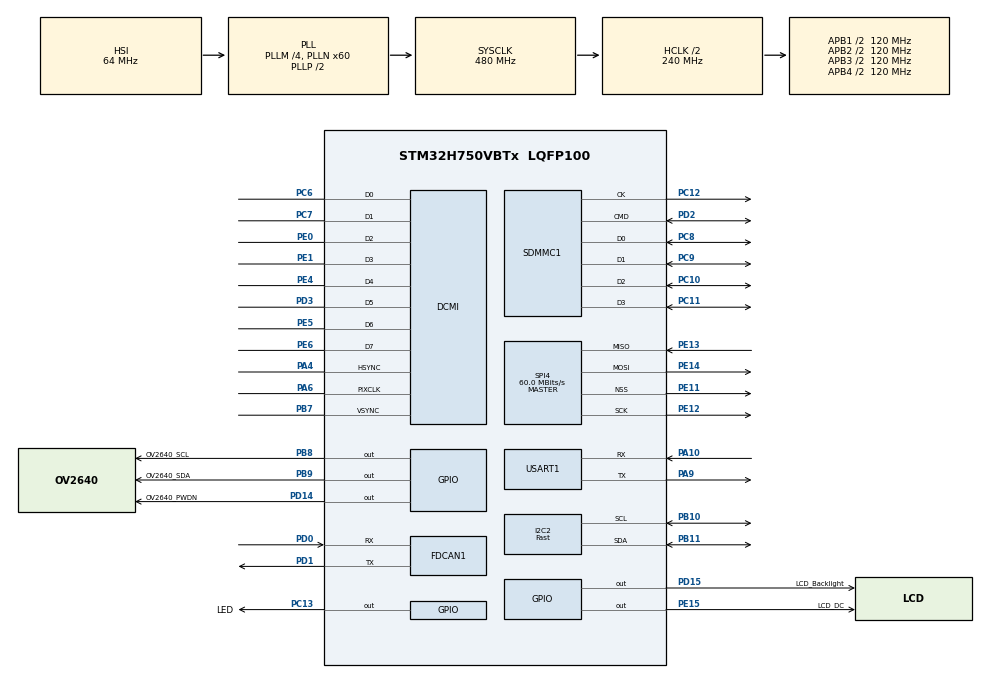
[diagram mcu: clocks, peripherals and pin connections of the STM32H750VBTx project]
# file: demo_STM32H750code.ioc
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CORTEX_M7.AccessPermission_Spec=MPU_REGION_FULL_ACCESS
CORTEX_M7.BaseAddress_Spec=0x24000000
CORTEX_M7.DisableExec_Spec=MPU_INSTRUCTION_ACCESS_ENABLE
CORTEX_M7.IsBufferable_Spec=MPU_ACCESS_BUFFERABLE
CORTEX_M7.IsCacheable_Spec=MPU_ACCESS_CACHEABLE
CORTEX_M7.Size_Spec=MPU_REGION_SIZE_512KB
CORTEX_M7.SubRegionDisable_Spec=0x00
CORTEX_M7.default_mode_Activation=1
DCMI.JPEGMode=DCMI_JPEG_DISABLE
DCMI.PCKPolarity=DCMI_PCKPOLARITY_RISING
Dma.DCMI.0.Direction=DMA_PERIPH_TO_MEMORY
Dma.DCMI.0.EventEnable=DISABLE
Dma.DCMI.0.FIFOMode=DMA_FIFOMODE_ENABLE
Dma.DCMI.0.FIFOThreshold=DMA_FIFO_THRESHOLD_FULL
Dma.DCMI.0.Instance=DMA2_Stream7
Dma.DCMI.0.MemBurst=DMA_MBURST_SINGLE
Dma.DCMI.0.MemDataAlignment=DMA_MDATAALIGN_WORD
Dma.DCMI.0.MemInc=DMA_MINC_ENABLE
Dma.DCMI.0.Mode=DMA_CIRCULAR
Dma.DCMI.0.PeriphBurst=DMA_PBURST_SINGLE
Dma.DCMI.0.PeriphDataAlignment=DMA_PDATAALIGN_WORD
Dma.DCMI.0.PeriphInc=DMA_PINC_DISABLE
Dma.DCMI.0.Polarity=HAL_DMAMUX_REQ_GEN_RISING
Dma.DCMI.0.Priority=DMA_PRIORITY_LOW
Dma.DCMI.0.RequestNumber=1
Dma.DCMI.0.SignalID=NONE
Dma.DCMI.0.SyncEnable=DISABLE
Dma.DCMI.0.SyncPolarity=HAL_DMAMUX_SYNC_NO_EVENT
Dma.DCMI.0.SyncRequestNumber=1
Dma.DCMI.0.SyncSignalID=NONE
Dma.Request0=DCMI
Dma.Request1=USART1_RX
Dma.Request2=USART1_TX
Dma.USART1_RX.1.Direction=DMA_PERIPH_TO_MEMORY
Dma.USART1_RX.1.EventEnable=DISABLE
Dma.USART1_RX.1.FIFOMode=DMA_FIFOMODE_DISABLE
Dma.USART1_RX.1.Instance=DMA1_Stream0
Dma.USART1_RX.1.MemDataAlignment=DMA_MDATAALIGN_BYTE
Dma.USART1_RX.1.MemInc=DMA_MINC_ENABLE
Dma.USART1_RX.1.Mode=DMA_NORMAL
Dma.USART1_RX.1.PeriphDataAlignment=DMA_PDATAALIGN_BYTE
Dma.USART1_RX.1.PeriphInc=DMA_PINC_DISABLE
Dma.USART1_RX.1.Polarity=HAL_DMAMUX_REQ_GEN_RISING
Dma.USART1_RX.1.Priority=DMA_PRIORITY_LOW
Dma.USART1_RX.1.RequestNumber=1
Dma.USART1_RX.1.SignalID=NONE
Dma.USART1_RX.1.SyncEnable=DISABLE
Dma.USART1_RX.1.SyncPolarity=HAL_DMAMUX_SYNC_NO_EVENT
Dma.USART1_RX.1.SyncRequestNumber=1
Dma.USART1_RX.1.SyncSignalID=NONE
Dma.USART1_TX.2.Direction=DMA_MEMORY_TO_PERIPH
Dma.USART1_TX.2.EventEnable=DISABLE
Dma.USART1_TX.2.FIFOMode=DMA_FIFOMODE_DISABLE
Dma.USART1_TX.2.Instance=DMA1_Stream1
Dma.USART1_TX.2.MemDataAlignment=DMA_MDATAALIGN_BYTE
Dma.USART1_TX.2.MemInc=DMA_MINC_ENABLE
Dma.USART1_TX.2.Mode=DMA_NORMAL
Dma.USART1_TX.2.PeriphDataAlignment=DMA_PDATAALIGN_BYTE
Dma.USART1_TX.2.PeriphInc=DMA_PINC_DISABLE
Dma.USART1_TX.2.Polarity=HAL_DMAMUX_REQ_GEN_RISING
Dma.USART1_TX.2.Priority=DMA_PRIORITY_LOW
Dma.USART1_TX.2.RequestNumber=1
Dma.USART1_TX.2.SignalID=NONE
Dma.USART1_TX.2.SyncEnable=DISABLE
Dma.USART1_TX.2.SyncPolarity=HAL_DMAMUX_SYNC_NO_EVENT
Dma.USART1_TX.2.SyncRequestNumber=1
Dma.USART1_TX.2.SyncSignalID=NONE
FDCAN1.CalculateBaudRateNominal=100000
FDCAN1.CalculateTimeBitNominal=10000
FDCAN1.CalculateTimeQuantumNominal=1666.6666666666667
FDCAN1.FrameFormat=FDCAN_FRAME_CLASSIC
FDCAN1.NominalPrescaler=200
FDCAN1.NominalTimeSeg1=3
I2C2.I2C_Speed_Mode=I2C_Fast
I2C2.Speed=300
I2C2.Timing=0x00B07FFF
Mcu.Family=STM32H7
Mcu.Name=STM32H750VBTx
Mcu.Package=LQFP100
NVIC.DCMI_IRQn=true\:0\:0\:false\:false\:true\:true\:true\:true
NVIC.DMA1_Stream0_IRQn=true\:0\:0\:false\:false\:true\:false\:true\:true
NVIC.DMA1_Stream1_IRQn=true\:0\:0\:false\:false\:true\:false\:true\:true
NVIC.DMA2_Stream7_IRQn=true\:0\:0\:false\:false\:true\:false\:true\:true
NVIC.PriorityGroup=NVIC_PRIORITYGROUP_4
NVIC.USART1_IRQn=true\:0\:0\:false\:false\:true\:true\:true\:true
PA10.Mode=Asynchronous
PA10.Signal=USART1_RX
PA13\ (JTMS/SWDIO).Mode=Serial_Wire
PA13\ (JTMS/SWDIO).Signal=DEBUG_JTMS-SWDIO
PA14\ (JTCK/SWCLK).Mode=Serial_Wire
PA14\ (JTCK/SWCLK).Signal=DEBUG_JTCK-SWCLK
PA4.GPIO_Speed=GPIO_SPEED_FREQ_VERY_HIGH
PA4.Mode=Slave_8_bits_External_Synchro
PA4.Signal=DCMI_HSYNC
PA6.GPIO_Speed=GPIO_SPEED_FREQ_VERY_HIGH
PA6.Mode=Slave_8_bits_External_Synchro
PA6.Signal=DCMI_PIXCLK
PA9.Mode=Asynchronous
PA9.Signal=USART1_TX
PB10.GPIO_Speed=GPIO_SPEED_FREQ_MEDIUM
PB10.Mode=I2C
PB10.Signal=I2C2_SCL
PB11.GPIO_Speed=GPIO_SPEED_FREQ_MEDIUM
PB11.Mode=I2C
PB11.Signal=I2C2_SDA
PB7.GPIO_Speed=GPIO_SPEED_FREQ_VERY_HIGH
PB7.Mode=Slave_8_bits_External_Synchro
PB7.Signal=DCMI_VSYNC
PB8.GPIO_Label=OV2640_SCL
PB8.GPIO_ModeDefaultOutputPP=GPIO_MODE_OUTPUT_OD
PB8.GPIO_PuPd=GPIO_NOPULL
PB8.GPIO_Speed=GPIO_SPEED_FREQ_LOW
PB8.PinState=GPIO_PIN_SET
PB8.Signal=GPIO_Output
PB9.GPIO_Label=OV2640_SDA
PB9.GPIO_ModeDefaultOutputPP=GPIO_MODE_OUTPUT_OD
PB9.GPIO_PuPd=GPIO_NOPULL
PB9.PinState=GPIO_PIN_SET
PB9.Signal=GPIO_Output
PC10.Mode=SD_4_bits_Wide_bus
PC10.Signal=SDMMC1_D2
PC11.Mode=SD_4_bits_Wide_bus
PC11.Signal=SDMMC1_D3
PC12.Mode=SD_4_bits_Wide_bus
PC12.Signal=SDMMC1_CK
PC13.GPIO_Label=LED
PC13.Signal=GPIO_Output
PC14-OSC32_IN\ (OSC32_IN).Mode=LSE-External-Oscillator
PC14-OSC32_IN\ (OSC32_IN).Signal=RCC_OSC32_IN
PC15-OSC32_OUT\ (OSC32_OUT).Mode=LSE-External-Oscillator
PC15-OSC32_OUT\ (OSC32_OUT).Signal=RCC_OSC32_OUT
PC6.GPIO_Speed=GPIO_SPEED_FREQ_VERY_HIGH
PC6.Mode=Slave_8_bits_External_Synchro
PC6.Signal=DCMI_D0
PC7.GPIO_Speed=GPIO_SPEED_FREQ_VERY_HIGH
PC7.Mode=Slave_8_bits_External_Synchro
PC7.Signal=DCMI_D1
PC8.Mode=SD_4_bits_Wide_bus
PC8.Signal=SDMMC1_D0
PC9.Mode=SD_4_bits_Wide_bus
PC9.Signal=SDMMC1_D1
PD0.Mode=FDCAN_Activate
PD0.Signal=FDCAN1_RX
PD1.Mode=FDCAN_Activate
PD1.Signal=FDCAN1_TX
PD14.GPIO_Label=OV2640_PWDN
PD14.GPIO_PuPd=GPIO_PULLUP
PD14.Signal=GPIO_Output
PD15.GPIO_Label=LCD_Backlight
PD15.Signal=GPIO_Output
PD2.Mode=SD_4_bits_Wide_bus
PD2.Signal=SDMMC1_CMD
PD3.GPIO_Speed=GPIO_SPEED_FREQ_VERY_HIGH
PD3.Mode=Slave_8_bits_External_Synchro
PD3.Signal=DCMI_D5
PE0.GPIO_Speed=GPIO_SPEED_FREQ_VERY_HIGH
PE0.Mode=Slave_8_bits_External_Synchro
PE0.Signal=DCMI_D2
PE1.GPIO_Speed=GPIO_SPEED_FREQ_VERY_HIGH
PE1.Mode=Slave_8_bits_External_Synchro
PE1.Signal=DCMI_D3
PE11.GPIO_Speed=GPIO_SPEED_FREQ_VERY_HIGH
PE11.Mode=NSS_Signal_Hard_Output
PE11.Signal=SPI4_NSS
PE12.GPIO_Speed=GPIO_SPEED_FREQ_VERY_HIGH
PE12.Mode=Full_Duplex_Master
PE12.Signal=SPI4_SCK
PE13.GPIO_Speed=GPIO_SPEED_FREQ_VERY_HIGH
PE13.Mode=Full_Duplex_Master
PE13.Signal=SPI4_MISO
PE14.GPIO_Speed=GPIO_SPEED_FREQ_VERY_HIGH
PE14.Mode=Full_Duplex_Master
PE14.Signal=SPI4_MOSI
PE15.GPIO_Label=LCD_DC
PE15.Signal=GPIO_Output
PE4.GPIO_Speed=GPIO_SPEED_FREQ_VERY_HIGH
PE4.Mode=Slave_8_bits_External_Synchro
PE4.Signal=DCMI_D4
PE5.GPIO_Speed=GPIO_SPEED_FREQ_VERY_HIGH
PE5.Mode=Slave_8_bits_External_Synchro
PE5.Signal=DCMI_D6
PE6.GPIO_Speed=GPIO_SPEED_FREQ_VERY_HIGH
PE6.Mode=Slave_8_bits_External_Synchro
PE6.Signal=DCMI_D7
PH0-OSC_IN\ (PH0).Mode=HSE-External-Oscillator
PH0-OSC_IN\ (PH0).Signal=RCC_OSC_IN
PH1-OSC_OUT\ (PH1).Mode=HSE-External-Oscillator
PH1-OSC_OUT\ (PH1).Signal=RCC_OSC_OUT
ProjectManager.HeapSize=0x200
ProjectManager.StackSize=0x400
ProjectManager.TargetToolchain=MDK-ARM V5.32
RCC.ADCFreq_Value=129000000
RCC.APB1Freq_Value=120000000
RCC.APB2Freq_Value=120000000
RCC.APB3Freq_Value=120000000
RCC.APB4Freq_Value=120000000
RCC.CortexFreq_Value=480000000
RCC.D1PPRE=RCC_APB3_DIV2
RCC.D2PPRE1=RCC_APB1_DIV2
RCC.D2PPRE2=RCC_APB2_DIV2
RCC.D3PPRE=RCC_APB4_DIV2
RCC.DIVM1=4
RCC.DIVN1=60
RCC.DIVQ1=8
RCC.HCLKFreq_Value=240000000
RCC.HPRE=RCC_HCLK_DIV2
RCC.PLL2FRACN=0
RCC.PLL3FRACN=0
RCC.PLLFRACN=0
RCC.SYSCLKFreq_VALUE=480000000
RCC.SYSCLKSource=RCC_SYSCLKSOURCE_PLLCLK
RCC.USBFreq_Value=120000000
SDMMC1.ClockDiv=6
SPI4.CalculateBaudRate=60.0 MBits/s
SPI4.DataSize=SPI_DATASIZE_8BIT
SPI4.Direction=SPI_DIRECTION_2LINES
SPI4.FifoThreshold=SPI_FIFO_THRESHOLD_02DATA
SPI4.Mode=SPI_MODE_MASTER
SPI4.VirtualNSS=VM_NSSHARD
SPI4.VirtualType=VM_MASTER
USART1.VirtualMode-Asynchronous=VM_ASYNC
VP_FATFS_VS_SDIO.Mode=SDIO
VP_MEMORYMAP_VS_MEMORYMAP.Mode=CurAppReg
board=custom

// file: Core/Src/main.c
/* USER CODE BEGIN Header */
/**
  ******************************************************************************
  * @file           : main.c
  * @brief          : Main program body
  ******************************************************************************
  * @attention
  *
  * Copyright (c) 2025 STMicroelectronics.
  * All rights reserved.
  *
  * This software is licensed under terms that can be found in the LICENSE file
  * in the root directory of this software component.
  * If no LICENSE file comes with this software, it is provided AS-IS.
  *
  ******************************************************************************
  */
/* USER CODE END Header */
#include "main.h"
#include "dcmi.h"
#include "dma.h"
#include "fatfs.h"
#include "fdcan.h"
#include "i2c.h"
#include "memorymap.h"
#include "sdmmc.h"
#include "spi.h"
#include "usart.h"
#include "gpio.h"

/* USER CODE BEGIN Includes */
#include <string.h>
#include <stdio.h>
#include "OLED.h"
#include "lcd_spi_154.h"
#include "dcmi_ov2640.h"
#include "sccb.h"
#include "save.h"
#include "CAN_own.h"

/* USER CODE END Includes */

void SystemClock_Config(void);
static void MPU_Config(void);

/* USER CODE BEGIN 0 */

const uint8_t logo_main[] = {
        0x00,0x00,0x00,0x00,0x00,0x00,0x00,0x00,0x00,0x00,0x00,0x00,0x00,0x00,0x00,0x00,0x00,0x00,0x00,0x00,0x00,0x00,0x00,0x00,0x00,0x00,0x00,0x00,0x00,0x00,0x00,0x00,0x00,0x00,0x00,0x00,0x00,0x00,0x00,0x00,
        0x00,0x00,0x00,0x00,0x00,0x00,0x00,0x00,0x00,0x00,0x00,0x00,0x00,0x00,0x00,0x00,0x00,0x00,0x00,0x00,0x00,0x00,0x00,0x00,0x00,0x00,0x00,0x00,0x00,0x00,0x00,0x00,0x00,0x00,0x00,0x00,0x00,0x00,0x00,0x00,
        0x00,0x00,0x00,0x00,0x00,0x00,0x00,0x00,0x00,0x00,0x00,0x00,0x00,0x00,0x00,0x00,0x00,0x00,0x00,0x00,0x00,0x00,0x00,0x00,0x00,0x00,0x00,0x00,0x00,0x00,0x00,0x00,0x00,0x00,0x00,0x00,0x00,0x00,0x00,0x00,
        0x00,0x00,0x00,0x00,0x00,0x00,0x00,0x00,0x00,0x00,0x00,0x00,0x00,0x00,0x00,0x00,0x80,0x80,0x80,0x80,0xC0,0x20,0x20,0x20,0x20,0x3E,0x20,0x20,0x3E,0x20,0x20,0x3E,0x20,0x20,0x3E,0x20,0xE0,0x80,0x80,0x80,0x80,0x00,0x00,0x00,0x60,0x60,
        0x70,0x60,0x60,0x60,0x70,0x60,0x60,0x00,0x00,0x00,0xE0,0x00,0x00,0xE0,0x00,0x00,0xE0,0x00,0x00,0x20,0x20,0x00,0x20,0x20,0xE0,0x20,0x20,0x20,0x00,0xA0,0x20,0x80,0xC0,0xA0,0xA0,0xA0,0xE0,0xC0,0x00,0x00,
        0x00,0x00,0x00,0x80,0xC0,0x20,0x80,0x60,0x40,0x40,0x40,0xC0,0xC0,0x00,0xE0,0x40,0x40,0xE0,0x20,0x20,0x20,0xA0,0xE0,0x00,0x00,0x00,0x80,0xE0,0x20,0x60,0xE0,0x00,0x00,0x00,
        0x00,0xE0,0x00,0x00,0x00,0x00,0xE0,0x00,0x00,0x00,0x00,0x00,0x00,0x00,0x00,0x00,0x00,0x00,0x00,0x00,0x00,0x00,0x00,0x00,0x24,0x24,0x24,0x24,0xFF,0x00,0x00,0xEC,0xBE,0x12,0xBE,0xEC,0x20,0xF0,0x20,0xF8,
        0x20,0xE0,0x00,0x00,0xFF,0x24,0x24,0x24,0x24,0x00,0x00,0x00,0x30,0x0F,0x00,0x3F,0x20,0x2F,0x20,0x27,0x38,0x03,0x00,0x20,0x23,0x10,0x0C,0x0F,0x18,0x20,0x23,0x20,0x00,0x01,0x3F,0x00,0x3F,0x20,0x3F,0x22,
        0x22,0x22,0x00,0x21,0x3F,0x32,0x26,0x32,0x3F,0x22,0x22,0x3E,0x00,0x00,0x50,0x30,0x00,0x00,0x3F,0x00,0x30,0x0E,0x20,0x3F,0x00,0x1E,0x20,0x00,0x27,0x38,0x38,0x27,0x01,0x21,0x21,0x3F,0x01,0x00,0x20,0x3C,
        0x0F,0x0C,0x0C,0x0C,0x0F,0x3F,0x30,0x00,0x00,0x3F,0x00,0x00,0x00,0x00,0x2F,0x00,0x00,0x00,0x00,0x00,0x00,0x00,0x00,0x00,0x00,0x00,0x00,0x00,0x00,0x00,0x00,0x00,0x01,0x01,0x01,0x01,0x0F,0x10,0x10,0x10,
        0x11,0xF1,0x11,0x10,0xF0,0x10,0x10,0xF0,0x10,0x10,0xF0,0x10,0x1F,0x01,0x01,0x01,0x01,0x00,0x00,0x00,0x31,0x29,0x26,0x00,0x00,0x00,0x00,0x0C,0x13,0x11,0x11,0x0E,0x00,0x00,0x00,0x00,0x21,0x31,0x29,0x26,
        0x00,0x00,0x00,0x00,0x00,0x37,0x25,0x3D,0x00,0x00,0x00,0x00,0x00,0x00,0x3D,0x0C,0x05,0x12,0x11,0x00,0x00,0x00,0x00,0x00,0x00,0x00,0x11,0x06,0x04,0x10,0x00,0x00,0x00,0x00,0x00,0x00,0x06,0x1E,0x16,0x07,
        0x03,0x12,0x00,0x00,0x00,0x00,0x00,0x00,0x10,0x08,0x0C,0x10,0x20,0x00,0x00,0x00,0x00,0x00,0x04,0x1D,0x0D,0x1D,0x1D,0x0D,0x00,0x00,0x00,0x00,0x00,0x00,0x00,0x00,0x00,0x00,0x00,0x00,0x00,0x00,0x00,0x00,
        0x00,0x00,0x00,0x00,0x00,0x00,0x00,0x00,0x00,0x03,0x00,0x00,0x03,0x00,0x00,0x03,0x00,0x00,0x03,0x00,0x00,0x00,0x00,0x00,0x00,0x00,0x00,0x00,0x00,0x00,0x00,0x00,0x00,0x00,0x00,0x00,0x00,0x00,0x00,0x00,
        0x00,0x00,0x00,0x00,0x00,0x00,0x00,0x00,0x00,0x00,0x00,0x00,0x00,0x00,0x00,0x00,0x00,0x00,0x00,0x00,0x00,0x00,0x00,0x00,0x00,0x00,0x00,0x00,0x00,0x00,0x00,0x00,0x00,0x00,0x00,0x00,0x00,0x00,0x00,0x00,
        0x00,0x00,0x00,0x00,0x00,0x00,0x00,0x00,0x00,0x00,0x00,0x00,0x00,0x00,0x00,0x00,0x00,0x00,0x00,0x00,0x00,0x00,0x00,0x00,0x00,0x00,0x00,0x00,0x00,0x00,0x00,0x00,0x00,0x00,0x00,0x00,0x00,0x00,0x00,0x00,
        0x00,0x00,0x00,0x00,0x00,0x00,0x00,0x00,0x00,0x00,0x00,0x00,0x00,0x00,0x00,0x00,0x00,0x00,0x00,0x00,0x00,0x00,0x00,0x00,0x00,0x00,0x00,0x00,0x00,0x00,0x00,0x00,0x00,0x00,0x00,0x00,0x00,0x00,0x00,0x00,
        0x00,0x00,0x00,0x00,0x00,0x00,0x00,0x00,0x00,0x00,0x00,0x00,0x00,0x00,0x00,0x00,0x00,0x00,0x00,0x00,0x00,0x00,0x00,0x00,0x00,0x00,0x00,0x00,0x00,0x00,0x00,0x00,0x00,0x00,0x00,0x00,0x00,0x00,0x00,0x00,
        0x00,0x00,0x00,0x00,0x00,0x00,0x00,0x00,0x00,0x00,0x00,0x00,0x00,0x00,0x00,0x00,0x00,0x00,0x00,0x00,0x00,0x00,0x00,0x00,0x00,0x00,0x00,0x00,0x00,0x00,0x00,0x00,0x00,0x00,0x00,0x00,0x00,0x00,0x00,0x00,
        0x00,0x00,0x00,0x00,0x00,0x00,0x00,0x00}; // “芯火征途，你好AI”logo

uint8_t F407_readBuffer[10];
/* USER CODE END 0 */

int main(void)
{

  /* MPU Configuration--------------------------------------------------------*/
  MPU_Config();

  /* MCU Configuration--------------------------------------------------------*/

  /* Reset of all peripherals, Initializes the Flash interface and the Systick. */
  HAL_Init();

  /* USER CODE BEGIN Init */
  SCB_EnableICache();
	SCB_EnableDCache();
  /* USER CODE END Init */

  /* Configure the system clock */
  SystemClock_Config();

  /* Initialize all configured peripherals */
  MX_GPIO_Init();
  MX_DMA_Init();
  MX_I2C2_Init();
  MX_DCMI_Init();
  MX_SPI4_Init();
  MX_USART1_UART_Init();
  MX_SDMMC1_SD_Init();
  MX_FATFS_Init();
  MX_FDCAN1_Init();
  /* USER CODE BEGIN 2 */
  HAL_UARTEx_ReceiveToIdle_DMA(&huart1, F407_readBuffer, sizeof(F407_readBuffer));
  __HAL_DMA_DISABLE_IT(huart1.hdmarx, DMA_IT_HT);
  CAN_ReceptionInit();
  OLED_Init();
  SPI_LCD_Init();
	DCMI_OV2640_Init();
	OV2640_DMA_Transmit_Continuous(Camera_Buffer, OV2640_BufferSize);
  f_mkdir("IMG");
  /* USER CODE END 2 */

  /* Infinite loop */
  /* USER CODE BEGIN WHILE */
  while (1)
  {
    OLED_ShowString(0,0,"Init Success!",OLED_8X16);
    // OLED_ShowImage(0,21,128,43,logo_main);
    HAL_GPIO_TogglePin(GPIOC,GPIO_PIN_13);
    /* USER CODE END WHILE */

    /* USER CODE BEGIN 3 */
    if(DCMI_FrameState == 1)
    {
      DCMI_FrameState = 0;
      LCD_CopyBuffer(0, 0, Display_Width, Display_Height, (uint16_t*)Camera_Buffer);
    }
    OLED_Update();
  }
  /* USER CODE END 3 */
}

void SystemClock_Config(void)
{
  RCC_OscInitTypeDef RCC_OscInitStruct = {0};
  RCC_ClkInitTypeDef RCC_ClkInitStruct = {0};

  /** Supply configuration update enable
  */
  HAL_PWREx_ConfigSupply(PWR_LDO_SUPPLY);

  /** Configure the main internal regulator output voltage
  */
  __HAL_PWR_VOLTAGESCALING_CONFIG(PWR_REGULATOR_VOLTAGE_SCALE1);

  while(!__HAL_PWR_GET_FLAG(PWR_FLAG_VOSRDY)) {}

  __HAL_RCC_SYSCFG_CLK_ENABLE();
  __HAL_PWR_VOLTAGESCALING_CONFIG(PWR_REGULATOR_VOLTAGE_SCALE0);

  while(!__HAL_PWR_GET_FLAG(PWR_FLAG_VOSRDY)) {}

  /** Initializes the RCC Oscillators according to the specified parameters
  * in the RCC_OscInitTypeDef structure.
  */
  RCC_OscInitStruct.OscillatorType = RCC_OSCILLATORTYPE_HSI;
  RCC_OscInitStruct.HSIState = RCC_HSI_DIV1;
  RCC_OscInitStruct.HSICalibrationValue = RCC_HSICALIBRATION_DEFAULT;
  RCC_OscInitStruct.PLL.PLLState = RCC_PLL_ON;
  RCC_OscInitStruct.PLL.PLLSource = RCC_PLLSOURCE_HSI;
  RCC_OscInitStruct.PLL.PLLM = 4;
  RCC_OscInitStruct.PLL.PLLN = 60;
  RCC_OscInitStruct.PLL.PLLP = 2;
  RCC_OscInitStruct.PLL.PLLQ = 8;
  RCC_OscInitStruct.PLL.PLLR = 2;
  RCC_OscInitStruct.PLL.PLLRGE = RCC_PLL1VCIRANGE_3;
  RCC_OscInitStruct.PLL.PLLVCOSEL = RCC_PLL1VCOWIDE;
  RCC_OscInitStruct.PLL.PLLFRACN = 0;
  if (HAL_RCC_OscConfig(&RCC_OscInitStruct) != HAL_OK)
  {
    Error_Handler();
  }

  /** Initializes the CPU, AHB and APB buses clocks
  */
  RCC_ClkInitStruct.ClockType = RCC_CLOCKTYPE_HCLK|RCC_CLOCKTYPE_SYSCLK
                              |RCC_CLOCKTYPE_PCLK1|RCC_CLOCKTYPE_PCLK2
                              |RCC_CLOCKTYPE_D3PCLK1|RCC_CLOCKTYPE_D1PCLK1;
  RCC_ClkInitStruct.SYSCLKSource = RCC_SYSCLKSOURCE_PLLCLK;
  RCC_ClkInitStruct.SYSCLKDivider = RCC_SYSCLK_DIV1;
  RCC_ClkInitStruct.AHBCLKDivider = RCC_HCLK_DIV2;
  RCC_ClkInitStruct.APB3CLKDivider = RCC_APB3_DIV2;
  RCC_ClkInitStruct.APB1CLKDivider = RCC_APB1_DIV2;
  RCC_ClkInitStruct.APB2CLKDivider = RCC_APB2_DIV2;
  RCC_ClkInitStruct.APB4CLKDivider = RCC_APB4_DIV2;

  if (HAL_RCC_ClockConfig(&RCC_ClkInitStruct, FLASH_LATENCY_4) != HAL_OK)
  {
    Error_Handler();
  }
}

 /* MPU Configuration */

void MPU_Config(void)
{
  MPU_Region_InitTypeDef MPU_InitStruct = {0};

  /* Disables the MPU */
  HAL_MPU_Disable();

  /** Initializes and configures the Region and the memory to be protected
  */
  MPU_InitStruct.Enable = MPU_REGION_ENABLE;
  MPU_InitStruct.Number = MPU_REGION_NUMBER0;
  MPU_InitStruct.BaseAddress = 0x24000000;
  MPU_InitStruct.Size = MPU_REGION_SIZE_512KB;
  MPU_InitStruct.SubRegionDisable = 0x00;
  MPU_InitStruct.TypeExtField = MPU_TEX_LEVEL0;
  MPU_InitStruct.AccessPermission = MPU_REGION_FULL_ACCESS;
  MPU_InitStruct.DisableExec = MPU_INSTRUCTION_ACCESS_ENABLE;
  MPU_InitStruct.IsShareable = MPU_ACCESS_SHAREABLE;
  MPU_InitStruct.IsCacheable = MPU_ACCESS_CACHEABLE;
  MPU_InitStruct.IsBufferable = MPU_ACCESS_BUFFERABLE;

  HAL_MPU_ConfigRegion(&MPU_InitStruct);
  /* Enables the MPU */
  HAL_MPU_Enable(MPU_PRIVILEGED_DEFAULT);

}

void Error_Handler(void)
{
  __disable_irq();
  while (1)
  {
  }
}
